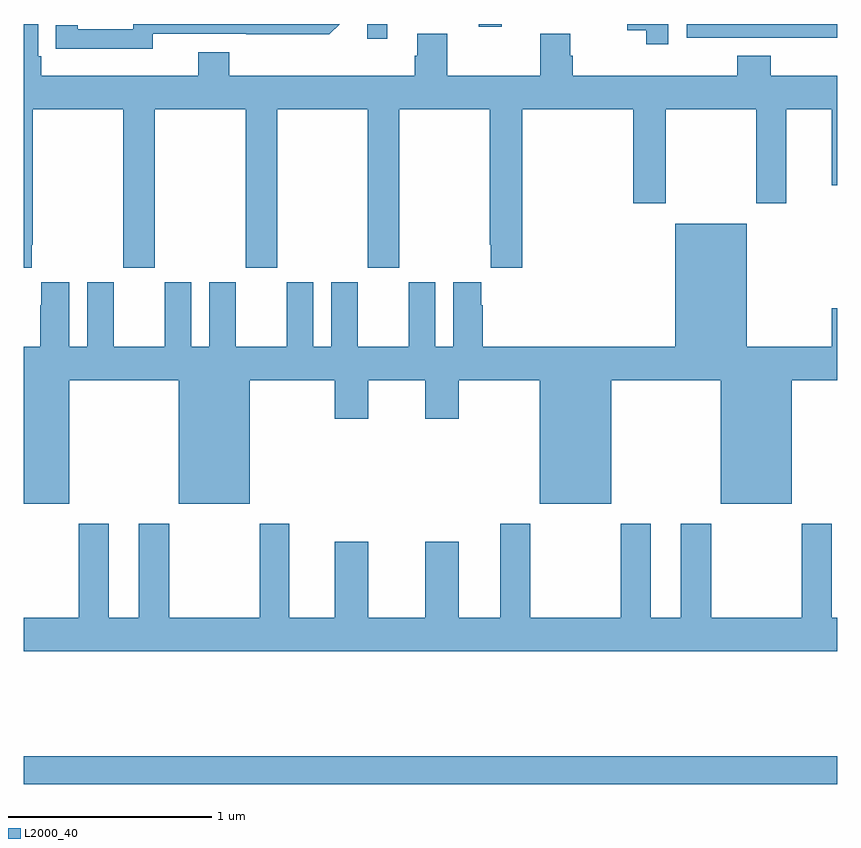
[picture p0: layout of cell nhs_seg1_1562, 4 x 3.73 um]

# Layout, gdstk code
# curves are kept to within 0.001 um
import gdstk
lib = gdstk.Library(unit=1e-6, precision=1e-09)
def R(c, l, rs):  # rectangles x0, y0, x1, y1
    for r in rs: c.add(gdstk.rectangle(r[:2], r[2:], *l))
def P(c, l, *ps):  # polygons
    for p in ps: c.add(gdstk.Polygon(p, *l))
L2000_40 = (2000, 40)

nhs_seg1_1562 = lib.new_cell('nhs_seg1_1562')
R(nhs_seg1_1562, L2000_40, [(197,500.464,201,500.6), (198.69,504.126,198.787,504.199), (199.238,504.186,199.349,504.199)])
P(nhs_seg1_1562, L2000_40, [(201,504.199),(200.259,504.199),(200.259,504.132),(200.755,504.132),(200.755,504.131),(201,504.131)],
  [(200.169,504.199),(199.968,504.199),(199.968,504.169),(200.061,504.169),(200.061,504.099),(200.169,504.099)],
  [(197.634,504.15),(198.502,504.149),(198.553,504.199),(197.538,504.199),(197.538,504.174),(197.266,504.174),(197.266,504.194),(197.158,504.194),(197.158,504.078),(197.634,504.077)],
  [(197.041,503.113),(197.046,503.113),(197.046,503.78),(197.491,503.78),(197.491,503.001),(197.646,503.001),(197.646,503.78),(198.091,503.78),(198.091,503.001),(198.246,503.001),(198.246,503.78),(198.691,503.78),(198.691,503.001),(198.846,503.001),(198.846,503.78),(199.291,503.78),(199.291,503.113),(199.295,503.113),(199.295,503.001),(199.451,503.001),(199.451,503.78),(199.997,503.78),(199.997,503.319),(200.157,503.319),(200.157,503.78),(200.602,503.78),(200.602,503.319),(200.749,503.319),(200.749,503.78),(200.972,503.78),(200.972,503.406),(201,503.406),(201,503.944),(200.672,503.944),(200.672,504.043),(200.507,504.043),(200.507,503.944),(199.7,503.944),(199.7,504.042),(199.687,504.042),(199.687,504.152),(199.54,504.152),(199.54,503.944),(199.083,503.944),(199.083,504.152),(198.935,504.152),(198.935,504.042),(198.923,504.042),(198.923,503.944),(198.011,503.944),(198.011,504.061),(197.858,504.061),(197.858,503.944),(197.087,503.944),(197.087,504.04),(197.073,504.04),(197.073,504.199),(197,504.199),(197,503.001),(197.041,503.001)],
  [(197.224,502.448),(197.762,502.448),(197.762,501.842),(198.112,501.842),(198.112,502.448),(198.53,502.448),(198.53,502.26),(198.694,502.26),(198.694,502.448),(198.974,502.448),(198.974,502.26),(199.138,502.26),(199.138,502.448),(199.538,502.448),(199.538,501.842),(199.888,501.842),(199.888,502.448),(200.426,502.448),(200.426,501.842),(200.776,501.842),(200.776,502.448),(201,502.448),(201,502.801),(200.972,502.801),(200.972,502.612),(200.554,502.612),(200.554,503.218),(200.204,503.218),(200.204,502.612),(199.256,502.612),(199.256,502.817),(199.249,502.817),(199.249,502.93),(199.112,502.93),(199.112,502.612),(199.024,502.612),(199.024,502.93),(198.893,502.93),(198.893,502.612),(198.643,502.612),(198.643,502.93),(198.512,502.93),(198.512,502.612),(198.424,502.612),(198.424,502.93),(198.293,502.93),(198.293,502.612),(198.043,502.612),(198.043,502.93),(197.912,502.93),(197.912,502.612),(197.824,502.612),(197.824,502.93),(197.693,502.93),(197.693,502.612),(197.443,502.612),(197.443,502.93),(197.312,502.93),(197.312,502.612),(197.224,502.612),(197.224,502.93),(197.087,502.93),(197.087,502.817),(197.081,502.817),(197.081,502.612),(197,502.612),(197,501.842),(197.224,501.842)],
  [(197.272,501.742),(197.272,501.28),(197,501.28),(197,501.116),(201,501.116),(201,501.28),(200.971,501.28),(200.971,501.742),(200.824,501.742),(200.824,501.28),(200.379,501.28),(200.379,501.742),(200.231,501.742),(200.231,501.28),(200.083,501.28),(200.083,501.742),(199.936,501.742),(199.936,501.28),(199.491,501.28),(199.491,501.742),(199.343,501.742),(199.343,501.28),(199.138,501.28),(199.138,501.655),(198.974,501.655),(198.974,501.28),(198.694,501.28),(198.694,501.655),(198.53,501.655),(198.53,501.28),(198.307,501.28),(198.307,501.742),(198.16,501.742),(198.16,501.28),(197.715,501.28),(197.715,501.742),(197.567,501.742),(197.567,501.28),(197.419,501.28),(197.419,501.742)])

lib.write_gds('nhs_seg1_1562.gds')
